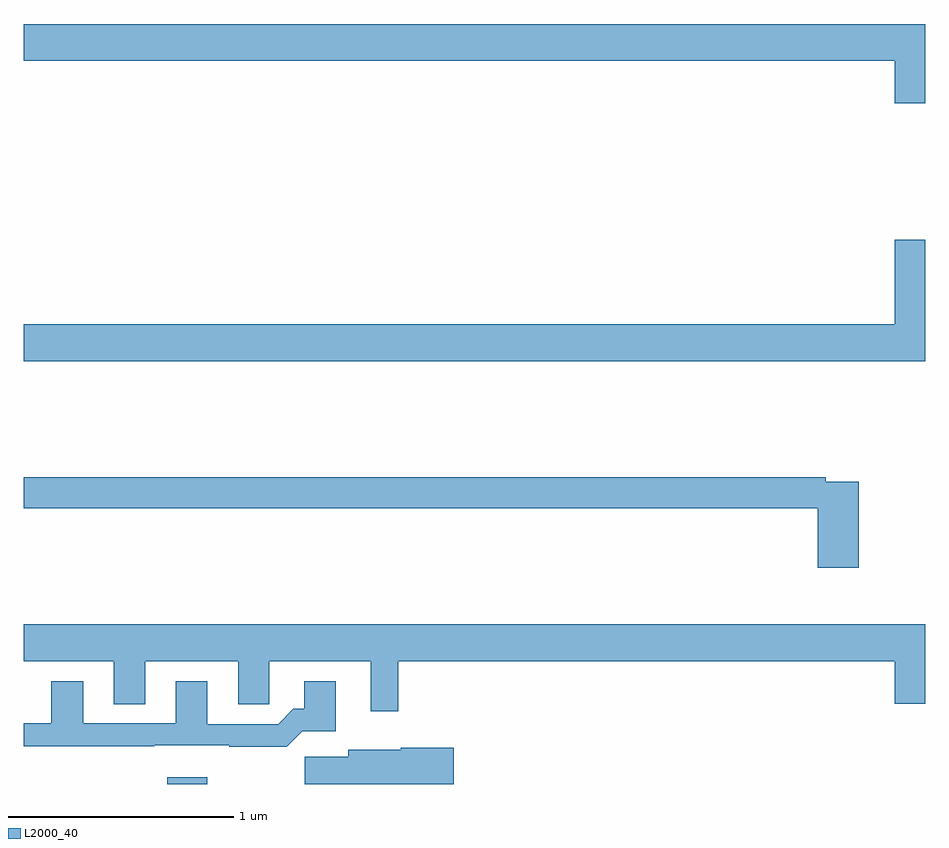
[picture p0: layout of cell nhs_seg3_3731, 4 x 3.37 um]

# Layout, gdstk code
import gdstk
lib = gdstk.Library(unit=1e-6, precision=1e-09)
def R(c, l, rs):  # rectangles x0, y0, x1, y1
    for r in rs: c.add(gdstk.rectangle(r[:2], r[2:], *l))
def P(c, l, *ps):  # polygons
    for p in ps: c.add(gdstk.Polygon(p, *l))
L2000_40 = (2000, 40)

nhs_seg3_3731 = lib.new_cell('nhs_seg3_3731')
R(nhs_seg3_3731, L2000_40, [(305.636,672.4,305.814,672.43)])
P(nhs_seg3_3731, L2000_40, [(309,675.772),(305,675.772),(305,675.608),(308.864,675.608),(308.864,675.42),(309,675.42)],
  [(309,674.815),(308.864,674.815),(308.864,674.44),(305,674.44),(305,674.276),(309,674.276)],
  [(308.705,673.74),(308.558,673.74),(308.558,673.76),(305,673.76),(305,673.624),(308.522,673.624),(308.522,673.359),(308.705,673.359)],
  [(306.661,672.944),(308.864,672.944),(308.864,672.756),(309,672.756),(309,673.108),(305,673.108),(305,672.944),(305.399,672.944),(305.399,672.754),(305.539,672.754),(305.539,672.944),(305.951,672.944),(305.951,672.754),(306.09,672.754),(306.09,672.944),(306.539,672.944),(306.539,672.723),(306.661,672.723)],
  [(306.236,672.635),(306.385,672.635),(306.385,672.856),(306.245,672.856),(306.245,672.733),(306.196,672.733),(306.129,672.666),(305.815,672.666),(305.815,672.856),(305.675,672.856),(305.675,672.669),(305.263,672.669),(305.263,672.856),(305.123,672.856),(305.123,672.669),(305,672.669),(305,672.568),(305.579,672.568),(305.579,672.572),(305.911,672.572),(305.911,672.566),(306.167,672.566)],
  [(306.907,672.561),(306.672,672.561),(306.672,672.553),(306.44,672.553),(306.44,672.521),(306.246,672.521),(306.246,672.4),(306.907,672.4)])

lib.write_gds('nhs_seg3_3731.gds')
